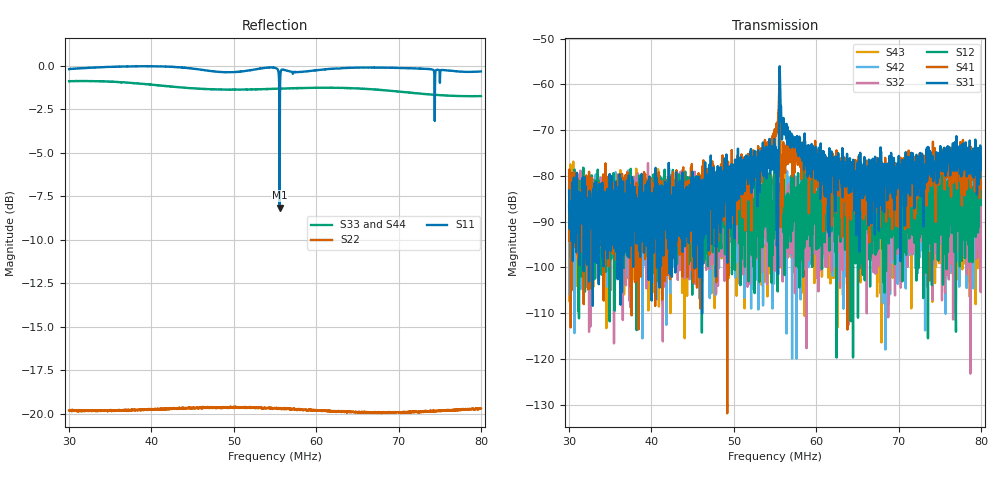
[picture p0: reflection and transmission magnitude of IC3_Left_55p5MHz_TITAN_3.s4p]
#  HZ  S  DB  R  50.00
! Rohde & Schwarz Vector Network Analyzer
! Rohde-Schwarz,ZNB8-4Port,1311601044102961,2.82
! Created: UTC 2/5/2019, 12:10:37 PM
! freq[Hz]  db:S11  ang:S11  db:S12  ang:S12  db:S13  ang:S13  db:S14  ang:S14
!  db:S21  ang:S21  db:S22  ang:S22  db:S23  ang:S23  db:S24  ang:S24
!  db:S31  ang:S31  db:S32  ang:S32  db:S33  ang:S33  db:S34  ang:S34
!  db:S41  ang:S41  db:S42  ang:S42  db:S43  ang:S43  db:S44  ang:S44
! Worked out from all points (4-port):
!   2001 points, 30 MHz to 80 MHz, reference 50 ohm
!   strongest paths, dB at 30 MHz, 42.5 MHz, 55 MHz, 67.5 MHz, 80 MHz:
!     S31: -83.2, -89.4, -77.6, -84.8, -76.2
!     S41: -82.7, -96.3, -73.8, -82.4, -78.9
!     S12: -86.2, -92.7, -83.0, -90.5, -86.3
!     S32: -86.8, -91.0, -85.8, -87.3, -81.0
!     S42: -91.5, -83.7, -88.1, -86.9, -83.3
!     S43: -83.4, -88.7, -99.2, -89.5, -96.7
!   lowest |S11| = -8.1 dB at 55.58 MHz (marker M1), VSWR 2.29, Z = 81.5 - j44.3 ohm
!   |S11| at or under -10 dB: nowhere
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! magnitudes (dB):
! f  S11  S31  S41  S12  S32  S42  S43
! 30 MHz  -0.2  -83.2  -82.7  -86.2  -86.8  -91.5  -83.4
! 51.15 MHz  -0.3  -77.1  -77.5  -95.1  -91.2  -87.6  -85.9
! 55.17 MHz  -0.2  -78.9  -70.2  -88.8  -92.3  -86.9  -87.2
! 55.58 MHz  -8.1  -56.0  -57.5  -88.7  -84.4  -82.1  -82.7
! 55.92 MHz  -0.2  -68.7  -86.6  -86.3  -103.1  -91.6  -93.9
! 62.12 MHz  -0.2  -77.1  -80.0  -85.2  -83.2  -87.4  -89.8
! 80 MHz  -0.3  -76.2  -78.9  -86.3  -81.0  -83.3  -96.7
